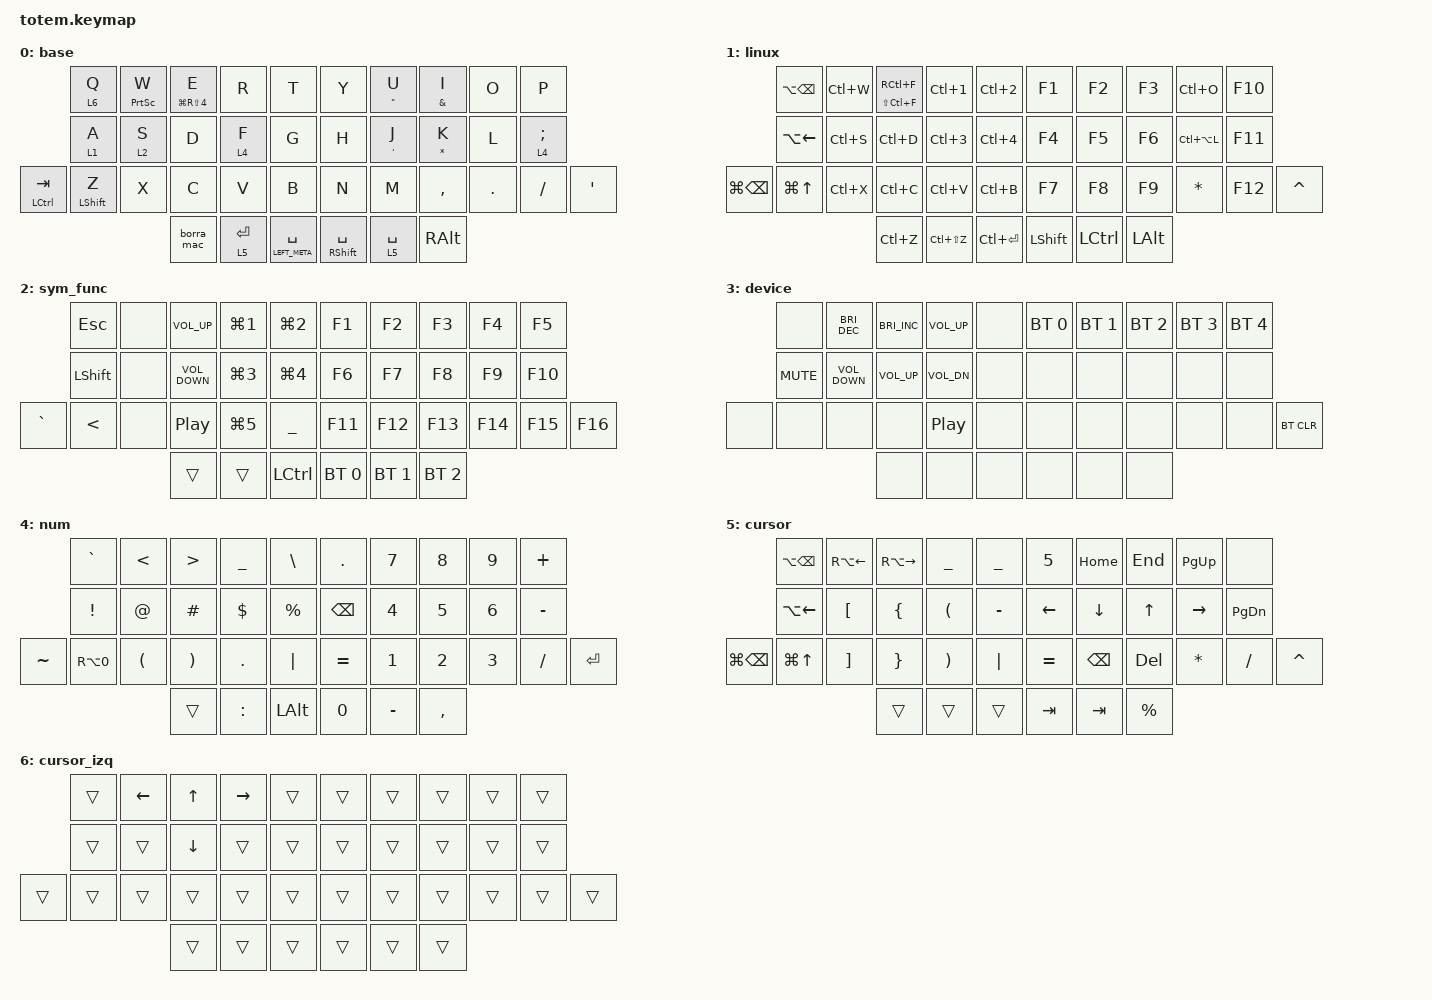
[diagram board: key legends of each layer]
//
//                                                        ▀▀▀▀▀     ▀▀▀▀▀          ▀▀█▀▀
//                                                        ▄▀▀▀▄  ▄  ▄▀▀▀▄  ▄  ▄▀▀▀▄  █  ▄▀▀▀▄
//                                                        █   █  █  █   █  █  █   █  █  █   █
//                                                         ▀▀▀   █   ▀▀▀   █   ▀▀▀   ▀   ▀▀▀
//                                                               █      ▄▄▄█▄▄▄    █   █  
//                                                               ▀      █  █  █     █▄█
//                                                             ▀▀▀▀▀    █  █  █      ▀
//                                                                      ▀  ▀  ▀
//
// ▄▄▄▄▄▄▄▄▄▄▄▄▄▄▄▄▄▄▄▄▄▄▄▄▄▄▄▄▄▄▄▄▄▄▄▄▄▄▄▄▄▄▄▄▄▄▄▄▄▄▄▄▄▄▄▄▄▄▄▄▄▄▄▄▄▄▄▄▄▄▄▄▄▄▄▄▄▄▄▄▄▄▄▄▄▄▄▄▄▄▄▄▄▄▄▄▄▄▄▄▄▄▄▄▄▄▄▄▄▄▄▄▄▄▄▄▄▄▄▄▄▄▄▄▄▄▄▄▄▄▄▄▄▄▄▄▄▄▄▄▄▄▄▄▄▄▄▄▄

#include <behaviors.dtsi>
#include <dt-bindings/zmk/bt.h>
#include <dt-bindings/zmk/keys.h>

&mt { tapping-term-ms = <400>; };

/ {
    combos {
        compatible = "zmk,combos";

        combo_esc {
            bindings = <&kp ESC>;
            key-positions = <0 1>;
        };

        enne {
            bindings = <&enne>;
            key-positions = <18 19>;
        };

        kF1 {
            bindings = <&kp F1>;
            key-positions = <27 35>;
            layers = <0>;
        };

        kF2 {
            bindings = <&kp F2>;
            key-positions = <35 28>;
            layers = <0>;
        };

        singlequote {
            bindings = <&simplecomilla>;
            key-positions = <16 13>;
        };

        doublequote {
            bindings = <&doblecomilla>;
            key-positions = <13 6>;
        };

        combo_enter {
            bindings = <&kp ENTER>;
            key-positions = <35 19>;
        };

        capa_numeros {
            bindings = <&mo 4>;
            key-positions = <34 13>;
        };

        altEnter {
            bindings = <&kp LA(ENTER)>;
            key-positions = <33 32>;
        };

        kF5 {
            bindings = <&kp F5>;
            key-positions = <35 17>;
        };

        asterisco {
            bindings = <&kp ASTERISK>;
            key-positions = <13 17>;
        };

        ampersand {
            bindings = <&kp AMPERSAND>;
            key-positions = <13 7>;
        };

        pipe {
            bindings = <&kp PIPE>;
            key-positions = <13 27>;
        };
    };

    macros {
        enne: enne {
            compatible = "zmk,behavior-macro";
            #binding-cells = <0>;
            bindings = <&kp RA(N) &kp N>;
            label = "ENNE";
        };

        doblecomilla: doblecomilla {
            compatible = "zmk,behavior-macro";
            #binding-cells = <0>;
            bindings = <&kp DOUBLE_QUOTES &kp SPACE>;
            label = "DOBLECOMILLA";
        };

        simplecomilla: simplecomilla {
            compatible = "zmk,behavior-macro";
            #binding-cells = <0>;
            bindings = <&kp SINGLE_QUOTE &kp SPACE>;
            label = "SIMPLECOMILLA";
        };

        guardar_captura: guardar_captura {
            compatible = "zmk,behavior-macro";
            #binding-cells = <0>;
            bindings = <&kp LG(LS(NUMBER_4))>;
            label = "GUARDAR_CAPTURA";
        };
    };

    behaviors {
        borra_mac: borra_mac {
            compatible = "zmk,behavior-tap-dance";
            label = "BORRA_MAC";
            #binding-cells = <0>;
            bindings = <&kp DEL>, <&kp LG(BACKSPACE)>;

            tapping-term-ms = <400>;
        };

        u_doublequote: u_doublequote {
            compatible = "zmk,behavior-tap-dance";
            label = "U_DOUBLEQUOTE";
            #binding-cells = <0>;
            bindings = <&kp U>, <&doblecomilla>;
        };

        j_singlequote: j_singlequote {
            compatible = "zmk,behavior-tap-dance";
            label = "J_SINGLEQUOTE";
            #binding-cells = <0>;
            bindings = <&kp J>, <&simplecomilla>;
        };

        r_d1: r_d1 {
            compatible = "zmk,behavior-tap-dance";
            label = "R_D1";
            #binding-cells = <0>;
            bindings = <&kp R>, <&kp LG(NUMBER_1)>;
        };

        t_d2: t_d2 {
            compatible = "zmk,behavior-tap-dance";
            label = "T_D2";
            #binding-cells = <0>;
            bindings = <&kp T>, <&kp LG(NUMBER_2)>;
        };

        f_d3: f_d3 {
            compatible = "zmk,behavior-tap-dance";
            label = "F_D3";
            #binding-cells = <0>;
            bindings = <&kp F>, <&kp LG(NUMBER_3)>;
        };

        g_d4: g_d4 {
            compatible = "zmk,behavior-tap-dance";
            label = "G_D4";
            #binding-cells = <0>;
            bindings = <&kp G>, <&kp LG(NUMBER_4)>;
        };

        v_d5: v_d5 {
            compatible = "zmk,behavior-tap-dance";
            label = "V_D5";
            #binding-cells = <0>;
            bindings = <&kp V>, <&kp LG(N5)>;
        };

        w_print: w_print {
            compatible = "zmk,behavior-tap-dance";
            label = "W_PRINT";
            #binding-cells = <0>;
            bindings = <&kp W>, <&kp PRINTSCREEN>;
        };

        b_control_enter: b_control_enter {
            compatible = "zmk,behavior-tap-dance";
            label = "B_CONTROL_ENTER";
            #binding-cells = <0>;
            bindings = <&kp B>, <&kp LC(ENTER)>;
        };

        layer_tap2: layer_tap2 {
            compatible = "zmk,behavior-hold-tap";
            label = "LAYER_TAP2";
            #binding-cells = <2>;
            flavor = "tap-preferred";
            tapping-term-ms = <400>;
            bindings = <&mo>, <&kp>;
        };

        mt2: mt2 {
            compatible = "zmk,behavior-hold-tap";
            label = "MT2";
            bindings = <&kp>, <&kp>;

            #binding-cells = <2>;
            flavor = "tap-preferred";
            tapping-term-ms = <300>;
        };
    };

    keymap {
        compatible = "zmk,keymap";

        base {
            bindings = <
               &layer_tap2 6 Q    &mt2 PRINTSCREEN W  &mt2 LG(RS(NUMBER_4)) E  &kp R            &kp T                  &kp Y                  &mt2 DOUBLE_QUOTES U  &mt2 AMPS I    &kp O    &kp P
               &layer_tap2 1 A    &layer_tap2 2 S     &kp D                    &layer_tap2 4 F  &kp G                  &kp H                  &mt2 SINGLE_QUOTE J   &mt2 ASTRK K   &kp L    &lt 4 SEMICOLON
&mt LCTRL TAB  &mt2 LEFT_SHIFT Z  &kp X               &kp C                    &kp V            &kp B                  &kp N                  &kp M                 &kp COMMA      &kp DOT  &kp FSLH         &kp APOS
                                                      &borra_mac               &lt 5 ENTER      &mt LEFT_META SPACE    &mt RIGHT_SHIFT SPACE  &lt 5 SPACE           &kp RIGHT_ALT
            >;
        };

        linux {
            bindings = <
                   &kp LA(BACKSPACE)   &kp LC(W)  &mt LS(LC(F)) RC(F)  &kp LC(N1)        &kp LC(NUMBER_2)    &kp F1          &kp F2     &kp F3        &kp LC(O)      &kp F10
                   &kp LA(LEFT_ARROW)  &kp LC(S)  &kp LC(D)            &kp LC(NUMBER_3)  &kp LC(NUMBER_4)    &kp F4          &kp F5     &kp F6        &kp LC(LA(L))  &kp F11
&kp LG(BACKSPACE)  &kp LG(UP_ARROW)    &kp LC(X)  &kp LC(C)            &kp LC(V)         &kp LC(B)           &kp F7          &kp F8     &kp F9        &kp STAR       &kp F12  &kp CARET
                                                  &kp LC(Z)            &kp LC(LS(Z))     &kp LC(ENTER)       &kp LEFT_SHIFT  &kp LCTRL  &kp LEFT_ALT
            >;
        };

        sym_func {
            bindings = <
           &kp ESC         &none  &kp C_VOLUME_UP    &kp LG(NUMBER_1)  &kp LG(NUMBER_2)    &kp F1        &kp F2        &kp F3        &kp F4   &kp F5
           &kp LEFT_SHIFT  &none  &kp C_VOLUME_DOWN  &kp LG(NUMBER_3)  &kp LG(NUMBER_4)    &kp F6        &kp F7        &kp F8        &kp F9   &kp F10
&kp GRAVE  &kp LESS_THAN   &none  &kp C_PLAY_PAUSE   &kp LG(N5)        &kp UNDERSCORE      &kp F11       &kp F12       &kp F13       &kp F14  &kp F15  &kp F16
                                  &trans             &trans            &kp LEFT_CONTROL    &bt BT_SEL 0  &bt BT_SEL 1  &bt BT_SEL 2
            >;
        };

        device {
            bindings = <
       &none       &kp C_BRIGHTNESS_DEC  &kp C_BRIGHTNESS_INC  &kp C_VOLUME_UP   &none    &bt BT_SEL 0  &bt BT_SEL 1  &bt BT_SEL 2  &bt BT_SEL 3  &bt BT_SEL 4
       &kp K_MUTE  &kp C_VOLUME_DOWN     &kp C_VOLUME_UP       &kp C_VOL_DN      &none    &none         &none         &none         &none         &none
&none  &none       &none                 &none                 &kp C_PLAY_PAUSE  &none    &none         &none         &none         &none         &none         &bt BT_CLR
                                         &none                 &none             &none    &none         &none         &none
            >;
        };

        num {
            bindings = <
           &kp GRAVE        &kp LESS_THAN         &kp GREATER_THAN       &kp UNDERSCORE  &kp BACKSLASH    &kp PERIOD     &kp N7        &kp N8        &kp N9        &kp PLUS
           &kp EXCLAMATION  &kp AT_SIGN           &kp HASH               &kp DOLLAR      &kp PERCENT      &kp BACKSPACE  &kp NUMBER_4  &kp N5        &kp NUMBER_6  &kp MINUS
&kp TILDE  &kp RA(N0)       &kp LEFT_PARENTHESIS  &kp RIGHT_PARENTHESIS  &kp PERIOD      &kp PIPE         &kp EQUAL      &kp NUMBER_1  &kp NUMBER_2  &kp NUMBER_3  &kp FSLH   &kp ENTER
                                                  &trans                 &kp COLON       &kp LEFT_ALT     &kp N0         &kp MINUS     &kp COMMA
            >;
        };

        cursor {
            bindings = <
                   &kp LA(BACKSPACE)   &kp RA(LEFT_ARROW)  &kp RA(RIGHT_ARROW)  &kp UNDERSCORE         &kp UNDERSCORE    &kp N5     &kp HOME       &kp END       &kp PAGE_UP  &none
                   &kp LA(LEFT_ARROW)  &kp LEFT_BRACKET    &kp LEFT_BRACE       &kp LEFT_PARENTHESIS   &kp MINUS         &kp LEFT   &kp DOWN       &kp UP_ARROW  &kp RIGHT    &kp PAGE_DOWN
&kp LG(BACKSPACE)  &kp LG(UP_ARROW)    &kp RIGHT_BRACKET   &kp RIGHT_BRACE      &kp RIGHT_PARENTHESIS  &kp PIPE          &kp EQUAL  &kp BACKSPACE  &kp DEL       &kp STAR     &kp FSLH       &kp CARET
                                                           &trans               &trans                 &trans            &kp TAB    &kp TAB        &kp PERCENT
            >;
        };

        cursor_izq {
            bindings = <
        &trans  &kp LEFT  &kp UP_ARROW  &kp RIGHT  &trans    &trans  &trans  &trans  &trans  &trans
        &trans  &trans    &kp DOWN      &trans     &trans    &trans  &trans  &trans  &trans  &trans
&trans  &trans  &trans    &trans        &trans     &trans    &trans  &trans  &trans  &trans  &trans  &trans
                          &trans        &trans     &trans    &trans  &trans  &trans
            >;
        };
    };

    conditional_layers { compatible = "zmk,conditional-layers"; };
};
